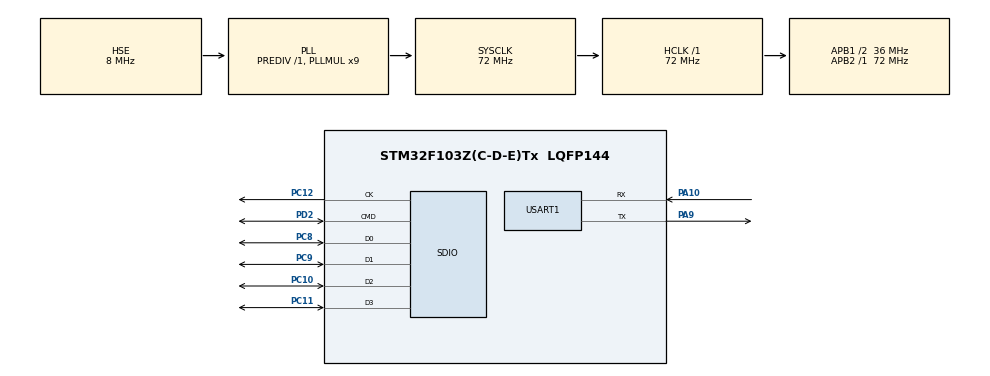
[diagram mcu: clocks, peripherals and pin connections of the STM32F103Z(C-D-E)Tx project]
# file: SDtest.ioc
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Mcu.Family=STM32F1
Mcu.Name=STM32F103Z(C-D-E)Tx
Mcu.Package=LQFP144
NVIC.PriorityGroup=NVIC_PRIORITYGROUP_4
NVIC.SDIO_IRQn=true\:0\:0\:false\:false\:true\:true\:true
OSC_IN.Mode=HSE-External-Oscillator
OSC_IN.Signal=RCC_OSC_IN
OSC_OUT.Mode=HSE-External-Oscillator
OSC_OUT.Signal=RCC_OSC_OUT
PA10.Mode=Asynchronous
PA10.Signal=USART1_RX
PA9.Mode=Asynchronous
PA9.Signal=USART1_TX
PC10.Mode=SD_4_bits_Wide_bus
PC10.Signal=SDIO_D2
PC11.Mode=SD_4_bits_Wide_bus
PC11.Signal=SDIO_D3
PC12.Mode=SD_4_bits_Wide_bus
PC12.Signal=SDIO_CK
PC8.Mode=SD_4_bits_Wide_bus
PC8.Signal=SDIO_D0
PC9.Mode=SD_4_bits_Wide_bus
PC9.Signal=SDIO_D1
PD2.Mode=SD_4_bits_Wide_bus
PD2.Signal=SDIO_CMD
ProjectManager.HeapSize=0x200
ProjectManager.StackSize=0x400
ProjectManager.TargetToolchain=MDK-ARM V5.27
RCC.AHBFreq_Value=72000000
RCC.APB1CLKDivider=RCC_HCLK_DIV2
RCC.APB1Freq_Value=36000000
RCC.APB1TimFreq_Value=72000000
RCC.APB2Freq_Value=72000000
RCC.APB2TimFreq_Value=72000000
RCC.HCLKFreq_Value=72000000
RCC.PLLMUL=RCC_PLL_MUL9
RCC.PLLSourceVirtual=RCC_PLLSOURCE_HSE
RCC.SYSCLKFreq_VALUE=72000000
RCC.SYSCLKSource=RCC_SYSCLKSOURCE_PLLCLK
RCC.USBFreq_Value=72000000
SDIO.ClockDiv=2
USART1.VirtualMode=VM_ASYNC
VP_SYS_VS_ND.Mode=No_Debug
board=custom

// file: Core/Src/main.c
/* USER CODE BEGIN Header */
/**
  ******************************************************************************
  * @file           : main.c
  * @brief          : Main program body
  ******************************************************************************
  * @attention
  *
  * <h2><center>&copy; Copyright (c) 2021 STMicroelectronics.
  * All rights reserved.</center></h2>
  *
  * This software component is licensed by ST under BSD 3-Clause license,
  * the "License"; You may not use this file except in compliance with the
  * License. You may obtain a copy of the License at:
  *                        opensource.org/licenses/BSD-3-Clause
  *
  ******************************************************************************
  */
/* USER CODE END Header */
#include "main.h"
#include "debug.h"

/* USER CODE BEGIN Includes */

#define block_num 8
#define block_size 512

#define TESTADDR 0x00000000

uint8_t BufferRx[block_num*block_size+10];
uint8_t BufferTx[block_num*block_size+10];

/* USER CODE END Includes */

SD_HandleTypeDef hsd;
HAL_SD_CardInfoTypeDef SDCardInfo;

UART_HandleTypeDef huart1;

void SystemClock_Config(void);
static void MX_GPIO_Init(void);
static void MX_SDIO_SD_Init(void);
static void MX_USART1_UART_Init(void);

/* USER CODE BEGIN 0 */

int eBuffercmp(uint8_t *pBuffer,uint32_t BufferLength)
{
	while(BufferLength--)
	{
		if((*pBuffer != 0xFF)&&(*pBuffer != 0))
		{
			return -1;
		}
		pBuffer++;
	}
	return 0;
}

int Buffercmp(uint8_t *pBuffer1,uint8_t *pBuffer2,uint32_t BufferLength)
{
	while(BufferLength--)
	{
		if(*pBuffer1 != *pBuffer2)
		{
			return -1;
		}
		pBuffer1++;
		pBuffer2++;
	}
	return 0;
}

void Fill_Buffer(uint8_t *pBuffer,uint32_t BufferLength,uint32_t offset)
{
	uint32_t index = 0;

	for(index=0;index<BufferLength;index++)
	{
		pBuffer[index] = index+offset;
	}
}

void SD_EraseTest(void)
{
	int state = -1;

	if(HAL_OK == HAL_SD_Erase(&hsd,TESTADDR,TESTADDR+block_num*block_size))
	{
		printf("SD Erase over\r\n");
	}
	else{
		printf("SD Erase fail\r\n");
		while(1);
	}

	HAL_Delay(10);              //bug1

	state = HAL_SD_ReadBlocks(&hsd,BufferRx,TESTADDR,block_num,0xffff);
	if(HAL_OK == state)
	{
		printf("SD read\r\n");
		if(0 == eBuffercmp(BufferRx,block_num*block_size))
		{
			printf("erase successful\r\n");
		}
	}
	else{
		printf("error:%d\r\n",state);
		printf("SD read error\r\n");
		printf("errcode:%d\r\n",HAL_SD_GetError(&hsd));
		while(1);
	}

}

void SD_Write_Read_Test(void)
{
    Fill_Buffer(BufferTx, block_num*block_size, 0x0001);

    if(HAL_OK == HAL_SD_WriteBlocks(&hsd, BufferTx, TESTADDR, block_num, 0xffff))
	{
		printf("write ok\r\n");
	}
    HAL_Delay(500);

    if(HAL_SD_ReadBlocks(&hsd,BufferRx,TESTADDR,block_num,0xffff) == HAL_OK)
	{
		printf("read ok\r\n");
	}

    if(0 == Buffercmp(BufferTx, BufferRx, block_num*block_size))
        printf("》读写测试成功！\r\n");
    else
        printf("》读写测试失败！\r\n ");
}

/* USER CODE END 0 */

int main(void)
{
    /* USER CODE BEGIN 1 */
	int state = -1;
    /* USER CODE END 1 */

    /* MCU Configuration--------------------------------------------------------*/

    /* Reset of all peripherals, Initializes the Flash interface and the Systick. */
    HAL_Init();

    /* Configure the system clock */
    SystemClock_Config();

    /* Initialize all configured peripherals */
    MX_GPIO_Init();
    MX_SDIO_SD_Init();
    MX_USART1_UART_Init();

    /* USER CODE BEGIN 2 */
	state = HAL_SD_GetState(&hsd);
	if(state == HAL_SD_STATE_READY)
	{
		printf("SD is ready\r\n");
	}else{
		printf("SD Error and Stop\r\n");
		while(1);
	}

	HAL_SD_GetCardInfo(&hsd,&SDCardInfo);
	printf("********************************************\r\n");
	printf("RelCardAdd is:%d\r\n",SDCardInfo.RelCardAdd);
	printf("BlockNbr is:%d\r\n",SDCardInfo.BlockNbr);
	printf("BlockSize is:%d\r\n",SDCardInfo.BlockSize);
	printf("********************************************\r\n");

	SD_EraseTest();

	SD_Write_Read_Test();

    /* USER CODE END 2 */

    /* Infinite loop */
    while(1)
    {

    }
}

void SystemClock_Config(void)
{
    RCC_OscInitTypeDef RCC_OscInitStruct = {0};
    RCC_ClkInitTypeDef RCC_ClkInitStruct = {0};

    /** Initializes the RCC Oscillators according to the specified parameters
    * in the RCC_OscInitTypeDef structure.
    */
    RCC_OscInitStruct.OscillatorType = RCC_OSCILLATORTYPE_HSE;
    RCC_OscInitStruct.HSEState = RCC_HSE_ON;
    RCC_OscInitStruct.HSEPredivValue = RCC_HSE_PREDIV_DIV1;
    RCC_OscInitStruct.HSIState = RCC_HSI_ON;
    RCC_OscInitStruct.PLL.PLLState = RCC_PLL_ON;
    RCC_OscInitStruct.PLL.PLLSource = RCC_PLLSOURCE_HSE;
    RCC_OscInitStruct.PLL.PLLMUL = RCC_PLL_MUL9;
    if(HAL_RCC_OscConfig(&RCC_OscInitStruct) != HAL_OK)
    {
        Error_Handler();
    }
    /** Initializes the CPU, AHB and APB buses clocks
    */
    RCC_ClkInitStruct.ClockType = RCC_CLOCKTYPE_HCLK | RCC_CLOCKTYPE_SYSCLK
                                  | RCC_CLOCKTYPE_PCLK1 | RCC_CLOCKTYPE_PCLK2;
    RCC_ClkInitStruct.SYSCLKSource = RCC_SYSCLKSOURCE_PLLCLK;
    RCC_ClkInitStruct.AHBCLKDivider = RCC_SYSCLK_DIV1;
    RCC_ClkInitStruct.APB1CLKDivider = RCC_HCLK_DIV2;
    RCC_ClkInitStruct.APB2CLKDivider = RCC_HCLK_DIV1;

    if(HAL_RCC_ClockConfig(&RCC_ClkInitStruct, FLASH_LATENCY_2) != HAL_OK)
    {
        Error_Handler();
    }
}

static void MX_SDIO_SD_Init(void)
{

    hsd.Instance = SDIO;
    hsd.Init.ClockEdge = SDIO_CLOCK_EDGE_RISING;
    hsd.Init.ClockBypass = SDIO_CLOCK_BYPASS_DISABLE;
    hsd.Init.ClockPowerSave = SDIO_CLOCK_POWER_SAVE_DISABLE;
    hsd.Init.BusWide = SDIO_BUS_WIDE_1B;
    hsd.Init.HardwareFlowControl = SDIO_HARDWARE_FLOW_CONTROL_DISABLE;
    hsd.Init.ClockDiv = 4;             //bug2
    if(HAL_SD_Init(&hsd) != HAL_OK)
    {
        Error_Handler();
    }
    if(HAL_SD_ConfigWideBusOperation(&hsd, SDIO_BUS_WIDE_4B) != HAL_OK)
    {
        Error_Handler();
    }

}

static void MX_USART1_UART_Init(void)
{

    huart1.Instance = USART1;
    huart1.Init.BaudRate = 115200;
    huart1.Init.WordLength = UART_WORDLENGTH_8B;
    huart1.Init.StopBits = UART_STOPBITS_1;
    huart1.Init.Parity = UART_PARITY_NONE;
    huart1.Init.Mode = UART_MODE_TX_RX;
    huart1.Init.HwFlowCtl = UART_HWCONTROL_NONE;
    huart1.Init.OverSampling = UART_OVERSAMPLING_16;
    if(HAL_UART_Init(&huart1) != HAL_OK)
    {
        Error_Handler();
    }

}

static void MX_GPIO_Init(void)
{

    /* GPIO Ports Clock Enable */
    __HAL_RCC_GPIOC_CLK_ENABLE();
    __HAL_RCC_GPIOA_CLK_ENABLE();
    __HAL_RCC_GPIOD_CLK_ENABLE();

}

void Error_Handler(void)
{
    __disable_irq();
    while(1)
    {
    }
}

/************************ (C) COPYRIGHT STMicroelectronics *****END OF FILE****/
